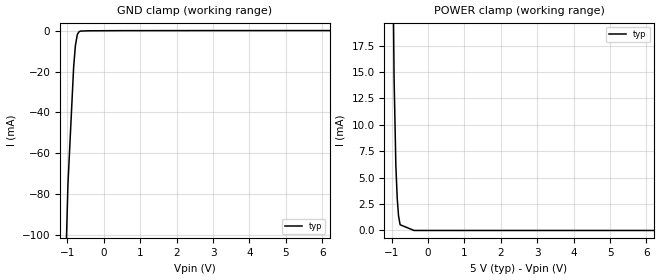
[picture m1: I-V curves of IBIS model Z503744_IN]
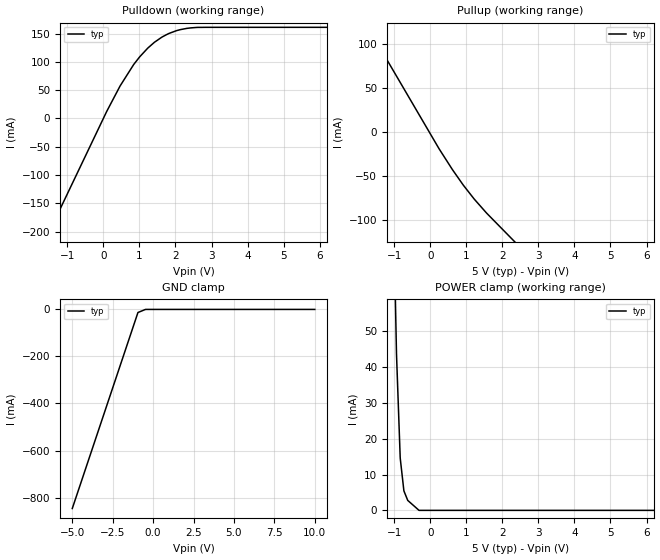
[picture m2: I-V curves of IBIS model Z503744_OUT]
| YOU ARE ONLY AUTHORIZED TO USE THIS SOFTWARE
| ACCORDING TO LICENSOR'S LICENSE RESTRICTIONS.
[IBIS Ver] 3.1
[File Name] mc74ac158n.ibs
[File Rev] 2.0
[Source] Measured and created by ICX Technology
[Date] Friday 7/14/00 9:07:59 AM
[Copyright]
| (C) COPYRIGHT 1993-2000
| MENTOR GRAPHICS CORPORATION
| ICX STANDARD LIBRARY, ICX PROJECT MODELING,
| ICX CUSTOM MODELING, ICX VENDOR MODEL
| ALL RIGHTS RESERVED.
| THE FOLLOWING ARE TRADEMARKS OR SERVICE MARKS OF
| MENTOR GRAPHICS CORPORATION:ICX (R), ICX STANDARD
| LIBRARY(R), ICX PROJECT MODELING(R), ICX CUSTOM
| MODELING(R), qualityIBIS(TM), MODELVIEWER(TM),
| AND MODELEDITOR(TM)
| ALL COPIES OF SOFTWARE, INCLUDING BUT NOT LIMITED TO
| ANY MODIFICATIONS, ENHANCEMENTS OR DERIVATIVE WORKS,
| MUST CONTAIN ALL MENTOR GRAPHICS CORPORATION'S
| NOTICES AND LEGENDS, INCLUDING THOSE EMBEDDED IN
| SOFTWARE AND THOSE AFFIXED TO SOFTWARE MEDIUM
| AND CONTAINER, AS RECEIVED FROM MENTOR GRAPHICS
| CORPORATION.
|  ZAP Model Builder 2.7
[Component] MC74AC158N
[Manufacturer] OnSemiconductor
[Package]
| variable   typ   min   max
R_pkg  .212ohms NA NA
L_pkg  4.758nH NA NA
C_pkg  1.143pF NA NA
[Pin] signal_name  model_name  R_pin  L_pin C_pin
1 B_A Z503744_IN .224 7.258n 1.578p
2 A0 Z503744_IN .216 5.258n 1.288p
3 B0 Z503744_IN .208 3.758n .998p
4 _Y0 Z503744_OUT .2 2.758n .708p
5 A1 Z503744_IN .2 2.758n .708p
6 B1 Z503744_IN .208 3.758n .998p
7 _Y1 Z503744_OUT .216 5.258n 1.288p
8 GND GND .224 7.258n 1.578p
9 _Y2 Z503744_OUT .224 7.258n 1.578p
10 B2 Z503744_IN .216 5.258n 1.288p
11 A2 Z503744_IN .208 3.758n .998p
12 _Y3 Z503744_OUT .2 2.758n .708p
13 B3 Z503744_IN .2 2.758n .708p
14 A3 Z503744_IN .208 3.758n .998p
15 _G Z503744_IN .216 5.258n 1.288p
16 VCC POWER .224 7.258n 1.578p
| Models and submodels in the file (2): Z503744_IN (Input), Z503744_OUT (Output)
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| (C) COPYRIGHT 1993-2000
| MENTOR GRAPHICS CORPORATION
| ICX STANDARD LIBRARY, ICX PROJECT MODELING,
| ICX CUSTOM MODELING, ICX VENDOR MODEL
| ALL RIGHTS RESERVED.
| THE FOLLOWING ARE TRADEMARKS OR SERVICE MARKS OF
| MENTOR GRAPHICS CORPORATION:ICX (R), ICX STANDARD
| LIBRARY(R), ICX PROJECT MODELING(R), ICX CUSTOM
| MODELING(R), qualityIBIS(TM), MODELVIEWER(TM),
| AND MODELEDITOR(TM)
| ALL COPIES OF SOFTWARE, INCLUDING BUT NOT LIMITED TO
| ANY MODIFICATIONS, ENHANCEMENTS OR DERIVATIVE WORKS,
| MUST CONTAIN ALL MENTOR GRAPHICS CORPORATION'S
| NOTICES AND LEGENDS, INCLUDING THOSE EMBEDDED IN
| SOFTWARE AND THOSE AFFIXED TO SOFTWARE MEDIUM
| AND CONTAINER, AS RECEIVED FROM MENTOR GRAPHICS
| CORPORATION.
| Model Application Version 1.89 2/18/99.
[Model] Z503744_IN
Model_type Input
Vinl = 1.500V
Vinh = 3.500V
C_comp 4.000pF NA NA
| variable typ   min   max
[Voltage Range] 5.000V NA NA
[GND Clamp Reference] 0.000V NA NA
[POWER Clamp Reference] 5.000V NA NA
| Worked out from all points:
|   GND clamp passes 1 mA (typ) near -0.70 V on its own axis
|   POWER clamp passes 1 mA (typ) near -0.79 V on its own axis
[GND Clamp]
-5V       -2.692A    NA         NA
-986mV    -75.38mA   NA         NA
-829.2mV  -17.69mA   NA         NA
-781.2mV  -7.176mA   NA         NA
-727.6mV  -1.732mA   NA         NA
-684.8mV  -483.6uA   NA         NA
-645.3mV  -89.45uA   NA         NA
10V       173.7uA    NA         NA
[POWER Clamp]
-5V       3.167A     NA         NA
-1.131V   110.8mA    NA         NA
-1.021V   46mA       NA         NA
-933mV    14.56mA    NA         NA
-884mV    6.167mA    NA         NA
-846mV    3.036mA    NA         NA
-810mV    1.389mA    NA         NA
-767mV    544uA      NA         NA
-383.5mV  0A         NA         NA
10V       0A         NA         NA
| (C) COPYRIGHT 1993-2000
| MENTOR GRAPHICS CORPORATION
| ICX STANDARD LIBRARY, ICX PROJECT MODELING,
| ICX CUSTOM MODELING, ICX VENDOR MODEL
| ALL RIGHTS RESERVED.
| THE FOLLOWING ARE TRADEMARKS OR SERVICE MARKS OF
| MENTOR GRAPHICS CORPORATION:ICX (R), ICX STANDARD
| LIBRARY(R), ICX PROJECT MODELING(R), ICX CUSTOM
| MODELING(R), qualityIBIS(TM), MODELVIEWER(TM),
| AND MODELEDITOR(TM)
| ALL COPIES OF SOFTWARE, INCLUDING BUT NOT LIMITED TO
| ANY MODIFICATIONS, ENHANCEMENTS OR DERIVATIVE WORKS,
| MUST CONTAIN ALL MENTOR GRAPHICS CORPORATION'S
| NOTICES AND LEGENDS, INCLUDING THOSE EMBEDDED IN
| SOFTWARE AND THOSE AFFIXED TO SOFTWARE MEDIUM
| AND CONTAINER, AS RECEIVED FROM MENTOR GRAPHICS
| CORPORATION.
| Model Application Version 1.89 2/18/99.
[Model] Z503744_OUT
Model_type Output
Vref=0.000V
Rref=500.0ohms
Cref=50.00pF
Vmeas=2.500V
C_comp 8.000pF NA NA
| variable typ   min   max
[Voltage Range] 5.000V NA NA
[POWER Clamp Reference] 5.000V NA NA
[Pullup Reference] 5.000V NA NA
[Pulldown Reference] 0.000V NA NA
[GND Clamp Reference] 0.000V NA NA
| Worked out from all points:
|   slope of the pulldown table from 0 to 0.75 V, typ, clamps not added: 8.71 ohm
|   slope of the pullup table from 0 to 0.75 V, typ, clamps not added: 15.4 ohm
[GND Clamp]
-5V       -846.7mA   NA         NA
-937.5mV  -13.16mA   NA         NA
-468.8mV  0A         NA         NA
10V       0A         NA         NA
[Pulldown]
-5V       -666.8mA   NA         NA
92.93mV   12.5mA     NA         NA
464mV     57.48mA    NA         NA
840.3mV   95.26mA    NA         NA
1.006V    108.8mA    NA         NA
1.23V     124.2mA    NA         NA
1.416V    134.6mA    NA         NA
1.82V     150.2mA    NA         NA
2.134V    156.9mA    NA         NA
2.627V    160.9mA    NA         NA
10V       161mA      NA         NA
[Pullup]
-5V       347mA      NA         NA
244mV     -18.93mA   NA         NA
616mV     -42.65mA   NA         NA
918mV     -60.26mA   NA         NA
1.22V     -76mA      NA         NA
1.562V    -91.84mA   NA         NA
10V       -443.3mA   NA         NA
[POWER Clamp]
-5V       2.635A     NA         NA
-1.049V   98.61mA    NA         NA
-937mV    43.52mA    NA         NA
-834mV    14.58mA    NA         NA
-732mV    5.435mA    NA         NA
-625mV    2.772mA    NA         NA
-312.5mV  0A         NA         NA
10V       0A         NA         NA
[Ramp]
| variable typ min max
dV/dt_r 2.933/651.8p NA NA
dV/dt_f 2.933/593.9p NA NA
R_load = 500.0Ohms
